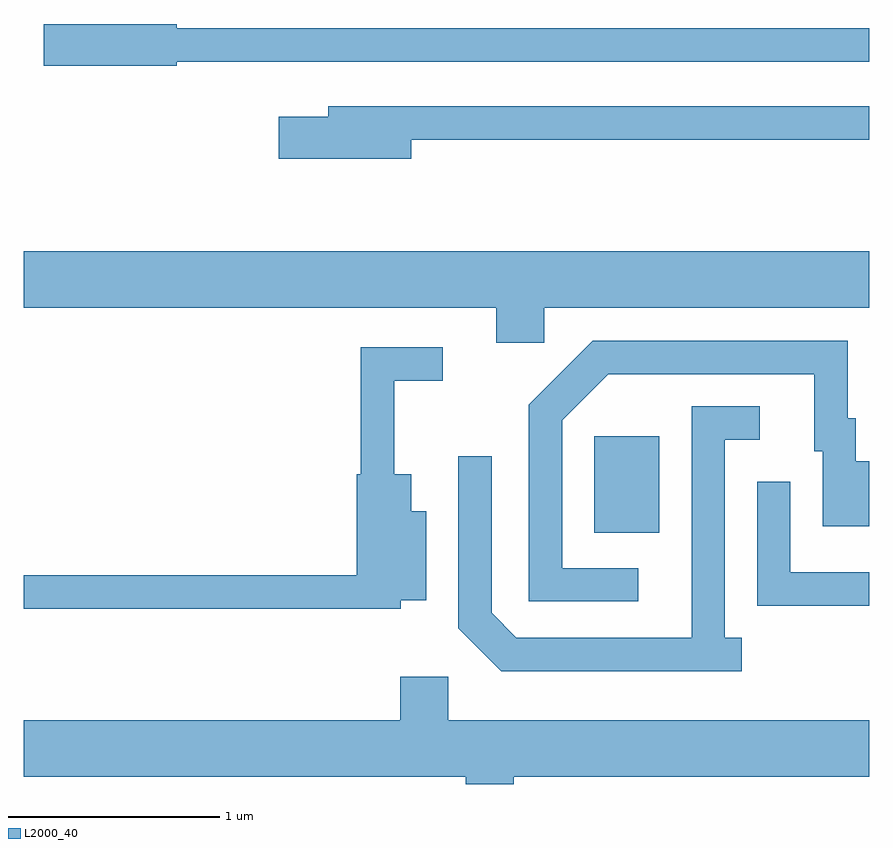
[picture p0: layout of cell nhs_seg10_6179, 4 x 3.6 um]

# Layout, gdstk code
import gdstk
lib = gdstk.Library(unit=1e-6, precision=1e-09)
def R(c, l, rs):  # rectangles x0, y0, x1, y1
    for r in rs: c.add(gdstk.rectangle(r[:2], r[2:], *l))
def P(c, l, *ps):  # polygons
    for p in ps: c.add(gdstk.Polygon(p, *l))
L2000_40 = (2000, 40)

nhs_seg10_6179 = lib.new_cell('nhs_seg10_6179')
R(nhs_seg10_6179, L2000_40, [(370.311,2141.711,370.619,2142.169)])
P(nhs_seg10_6179, L2000_40, [(368.334,2143.941),(371.611,2143.941),(371.611,2144.099),(368.334,2144.099),(368.334,2144.119),(367.706,2144.119),(367.706,2143.921),(368.334,2143.921)],
  [(369.444,2143.571),(371.611,2143.571),(371.611,2143.729),(369.051,2143.729),(369.051,2143.679),(368.816,2143.679),(368.816,2143.481),(369.444,2143.481)],
  [(370.074,2142.776),(371.611,2142.776),(371.611,2143.044),(367.611,2143.044),(367.611,2142.776),(369.846,2142.776),(369.846,2142.611),(370.074,2142.611)],
  [(370.518,2141.544),(370.159,2141.544),(370.159,2142.244),(370.377,2142.461),(371.351,2142.461),(371.351,2142.096),(371.391,2142.096),(371.391,2141.741),(371.611,2141.741),(371.611,2142.049),(371.549,2142.049),(371.549,2142.254),(371.509,2142.254),(371.509,2142.619),(370.304,2142.619),(370.001,2142.317),(370.001,2141.386),(370.518,2141.386)],
  [(369.394,2141.391),(369.514,2141.391),(369.514,2141.814),(369.444,2141.814),(369.444,2141.989),(369.364,2141.989),(369.364,2142.431),(369.593,2142.431),(369.593,2142.589),(369.206,2142.589),(369.206,2141.989),(369.186,2141.989),(369.186,2141.509),(367.611,2141.509),(367.611,2141.351),(369.394,2141.351)],
  [(371.008,2141.214),(370.929,2141.214),(370.929,2142.151),(371.093,2142.151),(371.093,2142.309),(370.771,2142.309),(370.771,2141.214),(369.942,2141.214),(369.824,2141.332),(369.824,2142.073),(369.666,2142.073),(369.666,2141.259),(369.869,2141.056),(371.008,2141.056)],
  [(371.611,2141.524),(371.239,2141.524),(371.239,2141.953),(371.081,2141.953),(371.081,2141.366),(371.611,2141.366)],
  [(369.929,2140.556),(371.611,2140.556),(371.611,2140.824),(369.619,2140.824),(369.619,2141.029),(369.391,2141.029),(369.391,2140.824),(367.611,2140.824),(367.611,2140.556),(369.701,2140.556),(369.701,2140.522),(369.929,2140.522)])

lib.write_gds('nhs_seg10_6179.gds')
